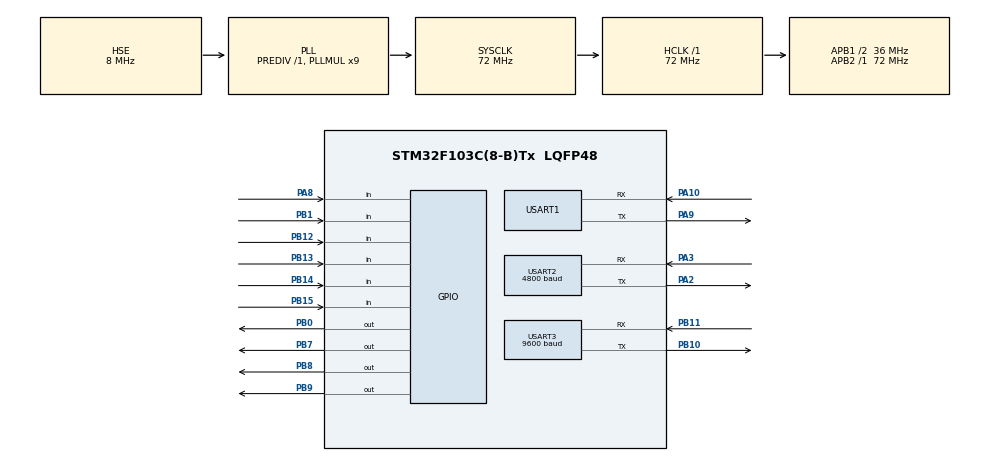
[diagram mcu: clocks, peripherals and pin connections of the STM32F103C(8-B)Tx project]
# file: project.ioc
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Mcu.Family=STM32F1
Mcu.Name=STM32F103C(8-B)Tx
Mcu.Package=LQFP48
NVIC.PriorityGroup=NVIC_PRIORITYGROUP_4
NVIC.TIM1_UP_IRQn=true\:0\:0\:false\:false\:true\:true\:true\:true
NVIC.USART1_IRQn=true\:0\:0\:false\:false\:true\:true\:true\:true
NVIC.USART2_IRQn=true\:0\:0\:false\:false\:true\:true\:true\:true
PA10.Mode=Asynchronous
PA10.Signal=USART1_RX
PA13.Mode=Serial_Wire
PA13.Signal=SYS_JTMS-SWDIO
PA14.Mode=Serial_Wire
PA14.Signal=SYS_JTCK-SWCLK
PA2.Mode=Asynchronous
PA2.Signal=USART2_TX
PA3.Mode=Asynchronous
PA3.Signal=USART2_RX
PA8.GPIO_PuPd=GPIO_PULLUP
PA8.Signal=GPIO_Input
PA9.Mode=Asynchronous
PA9.Signal=USART1_TX
PB0.GPIO_ModeDefaultOutputPP=GPIO_MODE_OUTPUT_OD
PB0.GPIO_PuPd=GPIO_NOPULL
PB0.Signal=GPIO_Output
PB1.Signal=GPIO_Input
PB10.Mode=Asynchronous
PB10.Signal=USART3_TX
PB11.Mode=Asynchronous
PB11.Signal=USART3_RX
PB12.GPIO_PuPd=GPIO_PULLUP
PB12.Signal=GPIO_Input
PB13.GPIO_PuPd=GPIO_PULLUP
PB13.Signal=GPIO_Input
PB14.GPIO_PuPd=GPIO_PULLUP
PB14.Signal=GPIO_Input
PB15.GPIO_PuPd=GPIO_PULLUP
PB15.Signal=GPIO_Input
PB7.Signal=GPIO_Output
PB8.GPIO_ModeDefaultOutputPP=GPIO_MODE_OUTPUT_OD
PB8.Signal=GPIO_Output
PB9.GPIO_ModeDefaultOutputPP=GPIO_MODE_OUTPUT_OD
PB9.Signal=GPIO_Output
PD0-OSC_IN.Mode=HSE-External-Oscillator
PD0-OSC_IN.Signal=RCC_OSC_IN
PD1-OSC_OUT.Mode=HSE-External-Oscillator
PD1-OSC_OUT.Signal=RCC_OSC_OUT
ProjectManager.HeapSize=0x200
ProjectManager.StackSize=0x400
ProjectManager.TargetToolchain=MDK-ARM V5.32
RCC.AHBFreq_Value=72000000
RCC.APB1CLKDivider=RCC_HCLK_DIV2
RCC.APB1Freq_Value=36000000
RCC.APB1TimFreq_Value=72000000
RCC.APB2Freq_Value=72000000
RCC.APB2TimFreq_Value=72000000
RCC.HCLKFreq_Value=72000000
RCC.PLLMUL=RCC_PLL_MUL9
RCC.PLLSourceVirtual=RCC_PLLSOURCE_HSE
RCC.SYSCLKFreq_VALUE=72000000
RCC.SYSCLKSource=RCC_SYSCLKSOURCE_PLLCLK
RCC.USBFreq_Value=72000000
TIM1.Period=10000-1
TIM1.Prescaler=72-1
USART1.VirtualMode=VM_ASYNC
USART2.BaudRate=4800
USART2.VirtualMode=VM_ASYNC
USART3.BaudRate=9600
USART3.VirtualMode=VM_ASYNC
VP_TIM1_VS_ClockSourceINT.Mode=Internal
board=custom

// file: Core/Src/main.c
/* USER CODE BEGIN Header */
/**
  ******************************************************************************
  * @file           : main.c
  * @brief          : Main program body
  ******************************************************************************
  * @attention
  *
  * <h2><center>&copy; Copyright (c) 2024 STMicroelectronics.
  * All rights reserved.</center></h2>
  *
  * This software component is licensed by ST under BSD 3-Clause license,
  * the "License"; You may not use this file except in compliance with the
  * License. You may obtain a copy of the License at:
  *                        opensource.org/licenses/BSD-3-Clause
  *
  ******************************************************************************
  */
/* USER CODE END Header */
#include "main.h"
#include "tim.h"
#include "usart.h"
#include "gpio.h"

/* USER CODE BEGIN Includes */
#include "ESP8266.h"
#include "delay.h"
#include "OLED.h"
#include "stdio.h"
#include "stdlib.h"
#include "string.h"

#include "DHT11.h"
#include "DS1302.h"
#include "JQ8900.h"
#include "KEY.h"
#include "POWER.h"
/* USER CODE END Includes */

/* USER CODE BEGIN PTD */
extern struct Record_Info rec;
extern uint8_t key_flag;
extern uint8_t time_i;
uint8_t time_set_flag;
DS1302_Time_t time;
DS1302_Time_t set_time;
DS1302_Time_t end_time;

float U, I, P;
uint8_t humi_value, temp_value, temp_max = 40, humi_max = 80;
char s[100];
uint8_t mode;
uint8_t power_flag;
/* USER CODE END PTD */

void SystemClock_Config(void);

/* USER CODE BEGIN 0 */

/*
*	功能：设置电源是否导通
*	参数：1开   0关
*	返回值：
*/
void Power_Set(uint8_t x)
{
	HAL_GPIO_WritePin(GPIOB, GPIO_PIN_7, (GPIO_PinState)x);
}

/*
*	功能：控制逻辑
*	参数：无
*	返回值：无
*/
void Ctrl(void)
{
	switch(time_set_flag)
	{
		case 1:
		{
			end_time.hour = 0;
			end_time.minute = 0;
			end_time.second = 0;
			uint16_t sec_time = (set_time.second + time.second);
			if (sec_time > 59)
			{
				end_time.minute += 1;
				end_time.second = sec_time - 60;
			}
			else
				end_time.second = sec_time;
			uint16_t minute_temp = (set_time.minute + time.minute);
			if (minute_temp > 59)
			{
				end_time.hour += 1;
				end_time.minute += minute_temp - 60;
			}
			else
				end_time.minute += minute_temp;
			uint16_t hour_temp = (set_time.hour + time.hour);
			if (hour_temp > 23)
			{
				end_time.date += 1;
				end_time.hour += hour_temp - 24;
			}
			else
				end_time.hour += hour_temp;
			time_set_flag = 2;
		}
		break;
		case 2:
			if ((end_time.hour == time.hour) && (end_time.minute == time.minute) && (end_time.second == time.second))
			{
				end_time.hour = 0;
				end_time.minute = 0;
				end_time.second = 0;
				Power_Set(power_flag);
				time_set_flag = 0;
				key_flag = 0;
				time_i = 0;
			}
			break;
	}

	if (temp_value > temp_max)
	{
		if (!HAL_GPIO_ReadPin(GPIOB, GPIO_PIN_1))
		{
			rec.index = 1;
			strcpy(rec.path, "\"00001\"");
			rec.volume = 15;
			JQ8900_Play_Recording(&rec);
		}
		Power_Set(0);
	}

	if (humi_value > humi_max)
	{
		if (!HAL_GPIO_ReadPin(GPIOB, GPIO_PIN_1))
		{
			rec.index = 2;
			strcpy(rec.path, "\"00002\"");
			rec.volume = 15;
			JQ8900_Play_Recording(&rec);
		}
		Power_Set(0);
	}
}
/*
*	功能：页面显示
*	参数：无
*	返回值：无
*/
void Page(void)
{
	OLED_ShowChinese(1, 1, (mode == 0) ? "自动" : "设置");
	sprintf(s, "%02d:%02d:%02d", time.hour, time.minute, time.second);
	OLED_ShowString(50, 1, s, 8);
	if (mode == 0)
	{
		OLED_ShowChinese(1, 16, "温度：");
		OLED_ShowNum(40, 16, temp_value, 2, 8);
		OLED_ShowChinese(60, 16, "湿度：");
		OLED_ShowNum(100, 16, humi_value, 2, 8);
		OLED_ShowChinese(1, 32, "电流：");
		sprintf(s, "%.4fA", I);
		OLED_ShowString(40, 32, s, 8);
		OLED_ShowChinese(1, 48, "电压：");
		sprintf(s, "%fV", U);
		OLED_ShowString(40, 48, s, 8);
	}
	else if (mode == 1)
	{
		if (key_flag == 0)
		{
			OLED_ClearArea(85, 32, 16, 16);
			if (time_i == 0)
			{
				OLED_ShowChinese(3, 32, "↑");
				OLED_ClearArea(43, 32, 16, 16);
			}
			else if (time_i == 1)
			{
				OLED_ShowChinese(23, 32, "↑");
				OLED_ClearArea(3, 32, 16, 16);
			}
			else if (time_i == 2)
			{
				OLED_ShowChinese(43, 32, "↑");
				OLED_ClearArea(23, 32, 16, 16);
			}
		}
		else if (key_flag == 1)
		{
			OLED_ClearArea(1, 32, 55, 16);
			OLED_ShowChinese(83, 32, "↑");
		}

		OLED_ShowChinese(1, 48, "温度：");
		sprintf(s, "%d ", temp_max);
		OLED_ShowString(40, 48, s, 8);
		OLED_ShowChinese(65, 48, "湿度：");
		sprintf(s, "%d ", humi_max);
		OLED_ShowString(105, 48, s, 8);
		sprintf(s, "%02d:%02d:%02d", end_time.hour, end_time.minute, end_time.second);
		OLED_ShowString(1, 16, s, 8);
		OLED_ShowChinese(80, 16, (power_flag == 1) ? "开" : "关");
	}
}

/*
*	功能：数据发送
*	参数：无
*	返回值：无
*/
void Data_Send(void)
{
	sprintf(s, "temp:%d,humi:%d,U:%.1f,I:%.4f,P:%.1f,\r\n", temp_value, humi_value, U, I, P);
	ESP8266_SendData(s, strlen(s));
}
/* USER CODE END 0 */

int main(void)
{

  /* MCU Configuration--------------------------------------------------------*/

  /* Reset of all peripherals, Initializes the Flash interface and the Systick. */
  HAL_Init();

  /* Configure the system clock */
  SystemClock_Config();

  /* Initialize all configured peripherals */
  MX_GPIO_Init();
  MX_USART1_UART_Init();
  MX_USART3_UART_Init();
  MX_TIM1_Init();
  MX_USART2_UART_Init();
  /* USER CODE BEGIN 2 */
  OLED_Init();
  ESP8266_Init();
	DS1302_Init();
	Key_Init();
	POWER_Init();
	Power_Set(1);
  /* USER CODE END 2 */

  /* Infinite loop */
  while (1)
  {

    /* USER CODE BEGIN 3 */
		ESP8266_GetIPD(100);
		Ctrl();
		Data_Send();
		Key_Scanf();
		DS1302_ReadTime(&time);
		DHT11_Read_Data(&humi_value, &temp_value);
		Page();
		OLED_Update();
		POWER_Get_Data(&U, &I, &P);
  }
  /* USER CODE END 3 */
}

void SystemClock_Config(void)
{
  RCC_OscInitTypeDef RCC_OscInitStruct = {0};
  RCC_ClkInitTypeDef RCC_ClkInitStruct = {0};

  /** Initializes the RCC Oscillators according to the specified parameters
  * in the RCC_OscInitTypeDef structure.
  */
  RCC_OscInitStruct.OscillatorType = RCC_OSCILLATORTYPE_HSE;
  RCC_OscInitStruct.HSEState = RCC_HSE_ON;
  RCC_OscInitStruct.HSEPredivValue = RCC_HSE_PREDIV_DIV1;
  RCC_OscInitStruct.HSIState = RCC_HSI_ON;
  RCC_OscInitStruct.PLL.PLLState = RCC_PLL_ON;
  RCC_OscInitStruct.PLL.PLLSource = RCC_PLLSOURCE_HSE;
  RCC_OscInitStruct.PLL.PLLMUL = RCC_PLL_MUL9;
  if (HAL_RCC_OscConfig(&RCC_OscInitStruct) != HAL_OK)
  {
    Error_Handler();
  }

  /** Initializes the CPU, AHB and APB buses clocks
  */
  RCC_ClkInitStruct.ClockType = RCC_CLOCKTYPE_HCLK|RCC_CLOCKTYPE_SYSCLK
                              |RCC_CLOCKTYPE_PCLK1|RCC_CLOCKTYPE_PCLK2;
  RCC_ClkInitStruct.SYSCLKSource = RCC_SYSCLKSOURCE_PLLCLK;
  RCC_ClkInitStruct.AHBCLKDivider = RCC_SYSCLK_DIV1;
  RCC_ClkInitStruct.APB1CLKDivider = RCC_HCLK_DIV2;
  RCC_ClkInitStruct.APB2CLKDivider = RCC_HCLK_DIV1;

  if (HAL_RCC_ClockConfig(&RCC_ClkInitStruct, FLASH_LATENCY_2) != HAL_OK)
  {
    Error_Handler();
  }
}

void Error_Handler(void)
{
  __disable_irq();
  while (1)
  {
  }
}
